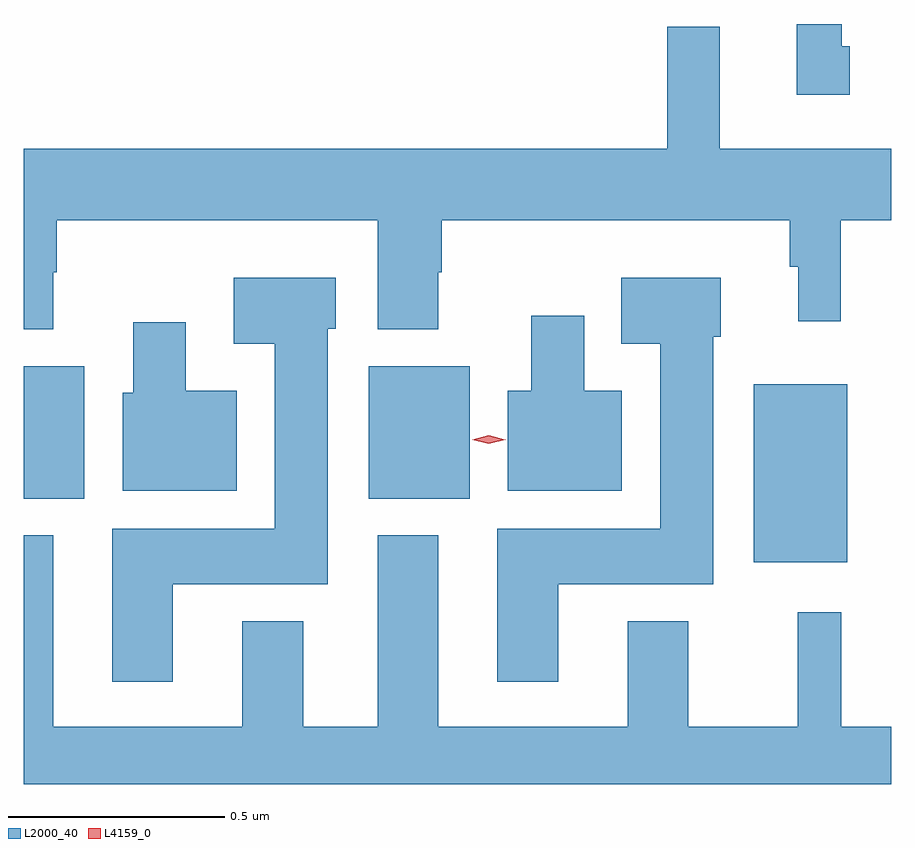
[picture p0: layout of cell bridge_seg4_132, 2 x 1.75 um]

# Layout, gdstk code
import gdstk
lib = gdstk.Library(unit=1e-6, precision=1e-09)
def R(c, l, rs):  # rectangles x0, y0, x1, y1
    for r in rs: c.add(gdstk.rectangle(r[:2], r[2:], *l))
def P(c, l, *ps):  # polygons
    for p in ps: c.add(gdstk.Polygon(p, *l))
L2000_40 = (2000, 40)
L4159_0 = (4159, 0)

bridge_seg4_132 = lib.new_cell('bridge_seg4_132')
R(bridge_seg4_132, L2000_40, [(335.186,749.411,335.401,749.821), (333.503,749.558,333.643,749.863), (334.298,749.558,334.531,749.863)])
P(bridge_seg4_132, L2000_40, [(335.407,750.601),(335.389,750.601),(335.389,750.652),(335.285,750.652),(335.285,750.489),(335.407,750.489)],
  [(333.571,750.08),(333.579,750.08),(333.579,750.2),(334.319,750.2),(334.319,749.948),(334.459,749.948),(334.459,750.08),(334.467,750.08),(334.467,750.2),(335.269,750.2),(335.269,750.092),(335.288,750.092),(335.288,749.967),(335.387,749.967),(335.387,750.2),(335.503,750.2),(335.503,750.364),(335.107,750.364),(335.107,750.646),(334.986,750.646),(334.986,750.364),(333.503,750.364),(333.503,749.948),(333.571,749.948)],
  [(334.735,749.36),(335.092,749.36),(335.092,749.931),(335.11,749.931),(335.11,750.067),(334.88,750.067),(334.88,749.915),(334.97,749.915),(334.97,749.488),(334.595,749.488),(334.595,749.136),(334.735,749.136)],
  [(333.847,749.36),(334.204,749.36),(334.204,749.949),(334.222,749.949),(334.222,750.067),(333.987,750.067),(333.987,749.915),(334.082,749.915),(334.082,749.488),(333.707,749.488),(333.707,749.136),(333.847,749.136)],
  [(334.882,749.806),(334.795,749.806),(334.795,749.98),(334.673,749.98),(334.673,749.806),(334.619,749.806),(334.619,749.576),(334.882,749.576)],
  [(333.994,749.806),(333.877,749.806),(333.877,749.965),(333.755,749.965),(333.755,749.802),(333.731,749.802),(333.731,749.576),(333.994,749.576)],
  [(335.503,749.032),(335.388,749.032),(335.388,749.296),(335.287,749.296),(335.287,749.032),(335.035,749.032),(335.035,749.275),(334.895,749.275),(334.895,749.032),(334.459,749.032),(334.459,749.473),(334.319,749.473),(334.319,749.032),(334.147,749.032),(334.147,749.275),(334.007,749.275),(334.007,749.032),(333.571,749.032),(333.571,749.473),(333.503,749.473),(333.503,748.9),(335.503,748.9)])
P(bridge_seg4_132, L4159_0, [(334.575,749.684),(334.537,749.694),(334.536,749.694),(334.537,749.694),(334.575,749.704),(334.613,749.694),(334.614,749.694),(334.613,749.694)])

lib.write_gds('bridge_seg4_132.gds')
